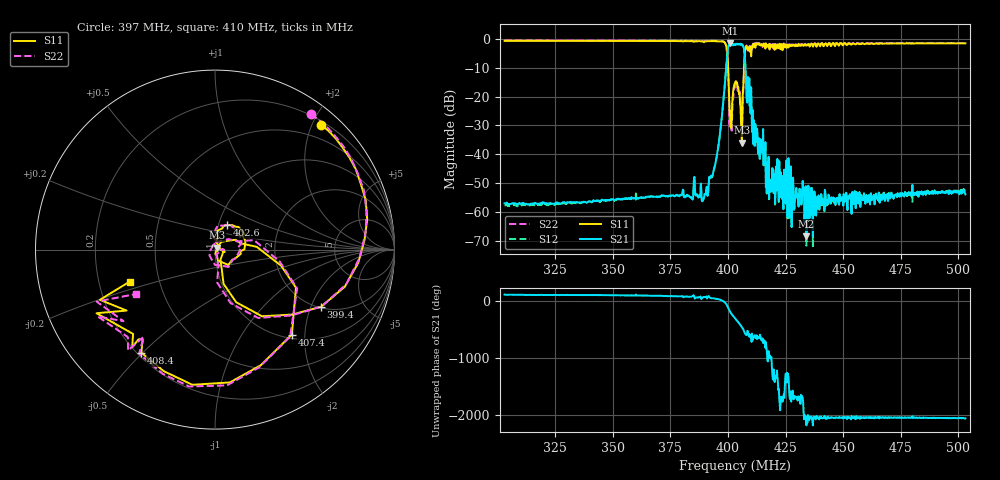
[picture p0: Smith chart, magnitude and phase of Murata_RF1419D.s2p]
# GHZ S DB R 50
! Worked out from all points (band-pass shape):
!   1001 points, 303 MHz to 503 MHz, reference 50 ohm
!   highest |S21| = -1.51 dB at 401 MHz (marker M1); lowest = -68.5 dB at 434 MHz (marker M2)
!   |S21| within 3 dB of the highest: 399.8 MHz to 407.1 MHz (7.293 MHz wide, 1.81 % of centre)
!   lowest |S11| = -36.0 dB at 406 MHz (marker M3), VSWR 1.03, Z = 51.2 + j1.1 ohm
!   |S11| at or under -10 dB: 400 MHz to 406.9 MHz (6.925 MHz wide, 1.72 % of centre)
!   |S22| runs from -32.4 to -0.5 dB; largest |S21 - S12| = 0.01
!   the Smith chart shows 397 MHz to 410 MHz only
!   S11 on the Smith chart (normalised r, x): 397 MHz: 0.25, +2.14; 399.4 MHz: 2.04, -2.36; 402.6 MHz: 1.10, +0.31; 407.4 MHz: 1.08, -1.72; 408.4 MHz: 0.22, -0.50; 410 MHz: 0.34, -0.16
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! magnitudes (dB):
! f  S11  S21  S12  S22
! 303 MHz  -0.6  -57.1  -57.7  -0.5
! 336.4 MHz  -0.6  -56.8  -56.9  -0.5
! 369.8 MHz  -0.7  -54.8  -54.8  -0.6
! 389.6 MHz  -1.0  -55.1  -55.2  -0.8
! 394.2 MHz  -0.7  -44.1  -44.4  -0.6
! 397 MHz  -0.8  -29.2  -29.3  -0.7
! 399.4 MHz  -3.5  -7.5  -7.4  -3.4
! 401 MHz  -25.0  -1.5  -1.5  -25.9
! 402.6 MHz  -16.3  -1.9  -2.0  -17.4
! 403 MHz  -15.3  -1.9  -2.0  -16.7
! 405.2 MHz  -22.5  -1.6  -1.7  -20.9
! 406 MHz  -36.0  -1.8  -1.9  -30.4
! 407.4 MHz  -3.9  -7.9  -7.8  -3.9
! 408.4 MHz  -3.0  -22.0  -21.9  -2.9
! 410 MHz  -5.9  -16.8  -16.8  -6.0
! 411.4 MHz  -1.6  -34.2  -34.2  -1.5
! 415.2 MHz  -2.3  -31.3  -31.5  -2.0
! 417.4 MHz  -2.6  -49.2  -49.5  -1.8
! 434 MHz  -2.2  -68.5  -71.8  -2.0
! 436.4 MHz  -1.7  -51.8  -51.9  -1.7
! 469.8 MHz  -1.6  -53.7  -53.4  -1.4
! 503 MHz  -1.5  -54.0  -53.8  -1.3
